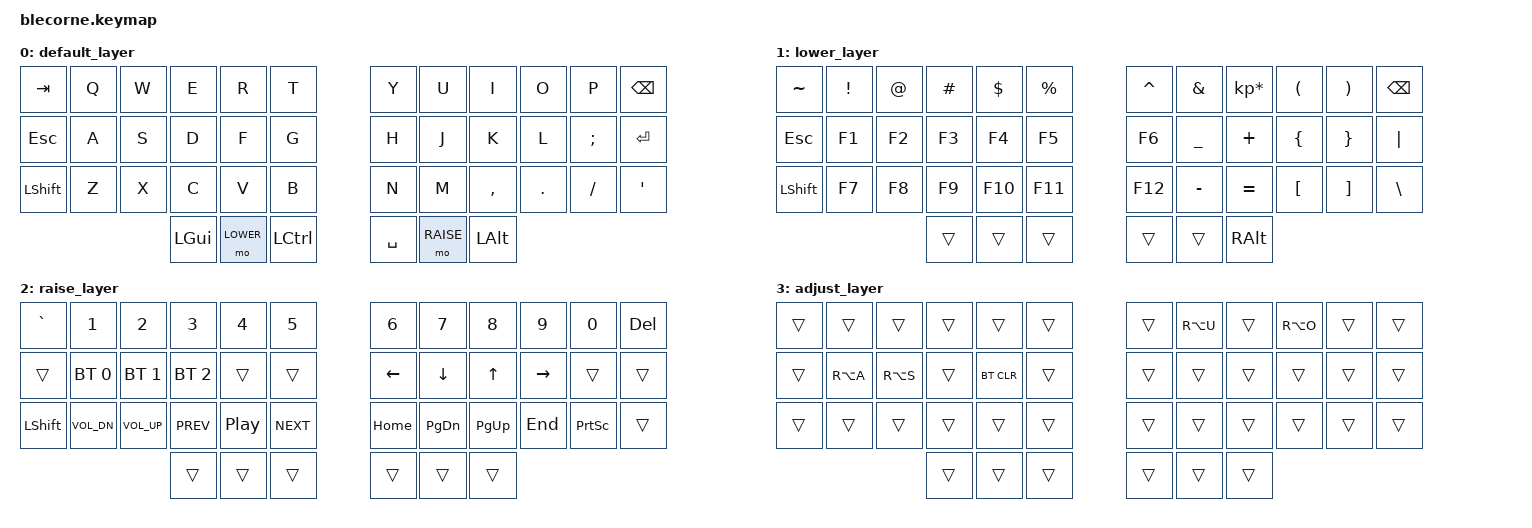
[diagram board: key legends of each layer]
/*
 * Copyright (c) 2020 The ZMK Contributors
 * SPDX-License-Identifier: MIT
 */

#include <behaviors.dtsi>
#include <dt-bindings/zmk/keys.h>
#include <dt-bindings/zmk/bt.h>

#define DEFAULT 0
#define LOWER   1
#define RAISE   2
#define ADJUST  3

/ {
    chosen {
        zmk,physical-layout = &foostan_corne_6col_layout;
        // zmk,physical-layout = &foostan_corne_5col_layout;
    };
};

/ {
    conditional_layers {
        compatible = "zmk,conditional-layers";

        // Hold both thumb layer keys to reach ADJUST.
        tri_layer {
            if-layers = <LOWER RAISE>;
            then-layer = <ADJUST>;
        };
    };

    keymap {
        compatible = "zmk,keymap";

        default_layer {
// -----------------------------------------------------------------------------------------
// |  TAB |  Q  |  W  |  E  |  R  |  T  |   |  Y  |  U   |  I  |  O  |  P  | BKSP |
// | ESC  |  A  |  S  |  D  |  F  |  G  |   |  H  |  J   |  K  |  L  |  ;  |  ENT |
// | SHFT |  Z  |  X  |  C  |  V  |  B  |   |  N  |  M   |  ,  |  .  |  /  |   '  |
//                    | GUI | LWR | CTRL |  | SPC  | RSE  | LALT |
            bindings = <
                &kp TAB   &kp Q &kp W &kp E &kp R &kp T   &kp Y &kp U  &kp I     &kp O   &kp P    &kp BSPC
                &kp ESC   &kp A &kp S &kp D &kp F &kp G   &kp H &kp J  &kp K     &kp L   &kp SEMI &kp RET
                &kp LSHFT &kp Z &kp X &kp C &kp V &kp B   &kp N &kp M  &kp COMMA &kp DOT &kp FSLH &kp SQT
                              &kp LGUI &mo LOWER &kp LCTRL   &kp SPACE &mo RAISE &kp LALT
            >;
        };

        lower_layer {
// -----------------------------------------------------------------------------------------
// |  ~   |  !  |  @  |  #  |  $  |  %  |   |  ^  |  &  |  *  |  (  |  )  | BKSP |
// | ESC  |  F1 |  F2 | F3  | F4  |  F5 |   | F6  |  _  |  +  |  {  |  }  | "|"  |
// | SHFT |  F7 |  F8 | F9  | F10 | F11 |   | F12 |  -  |  =  |  [  |  ]  |  \   |
//                    |     |     |     |   |     |     | RALT |
            bindings = <
                &kp TILDE &kp EXCL &kp AT &kp HASH &kp DLLR &kp PRCNT   &kp CARET &kp AMPS  &kp KP_MULTIPLY &kp LPAR &kp RPAR &kp BSPC
                &kp ESC   &kp F1   &kp F2 &kp F3   &kp F4   &kp F5      &kp F6    &kp UNDER &kp PLUS        &kp LBRC &kp RBRC &kp PIPE
                &kp LSHFT &kp F7   &kp F8 &kp F9   &kp F10  &kp F11     &kp F12   &kp MINUS &kp EQUAL       &kp LBKT &kp RBKT &kp BSLH
                              &trans &trans &trans   &trans &trans &kp RALT
            >;
        };

        raise_layer {
// -----------------------------------------------------------------------------------------
// |   `  |  1  |  2  |  3  |  4  |  5  |   |  6  |  7  |  8  |  9  |  0  | DEL  |
// |      | BT1 | BT2 | BT3 |     |     |   | LFT | DWN |  UP | RGT |     |      |
// | SHFT | VOL-| VOL+| PREV| P/P | NEXT|   |HOME |PG_DN|PG_UP| END |PSCRN|      |
//                    |     |     |     |   |     |     |     |
            bindings = <
                &kp GRAVE &kp N1       &kp N2       &kp N3       &kp N4   &kp N5       &kp N6   &kp N7    &kp N8    &kp N9    &kp N0    &kp DEL
                &trans    &bt BT_SEL 0 &bt BT_SEL 1 &bt BT_SEL 2 &trans   &trans       &kp LEFT &kp DOWN  &kp UP    &kp RIGHT &trans    &trans
                &kp LSHFT &kp C_VOL_DN &kp C_VOL_UP &kp C_PREV   &kp C_PP &kp C_NEXT   &kp HOME &kp PG_DN &kp PG_UP &kp END   &kp PSCRN &trans
                              &trans &trans &trans   &trans &trans &trans
            >;
        };

        // LOWER + RAISE. Umlauts sit on their own letters; RA() sends the
        // key with AltGr held, so EurKEY resolves it to the accented form.
        // Holding shift gives the capital.
        adjust_layer {
// -----------------------------------------------------------------------------------------
// |      |     |     |     |     |     |   |     |  Ü  |     |  Ö  |     |      |
// |      |  Ä  |  ß  |     |BTCLR|     |   |     |     |     |     |     |      |
// |      |     |     |     |     |     |   |     |     |     |     |     |      |
//                    |     |     |     |   |     |     |     |
            bindings = <
                &trans &trans    &trans    &trans &trans     &trans   &trans &kp RA(U) &trans &kp RA(O) &trans &trans
                &trans &kp RA(A) &kp RA(S) &trans &bt BT_CLR &trans   &trans &trans    &trans &trans    &trans &trans
                &trans &trans    &trans    &trans &trans     &trans   &trans &trans    &trans &trans    &trans &trans
                              &trans &trans &trans   &trans &trans &trans
            >;
        };
    };
};
